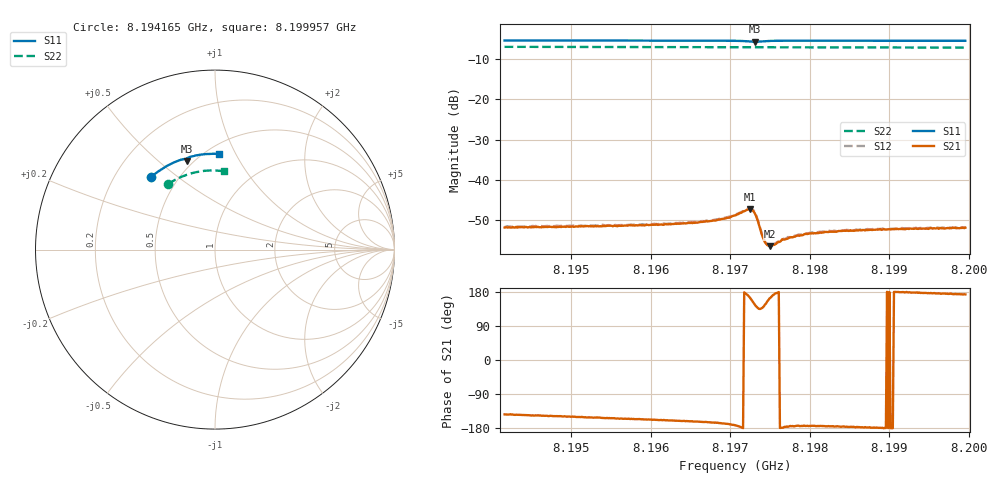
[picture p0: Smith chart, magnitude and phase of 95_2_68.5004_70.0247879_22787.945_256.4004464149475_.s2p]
#  HZ  S  RI  R  50.00
! Rohde & Schwarz Vector Network Analyzer
! Rohde-Schwarz,ZNB20-2Port,1311601062101988,3.16
! Created: UTC 3/20/2024, 4:52:49 PM
! freq[Hz]  re:S11  im:S11  re:S21  im:S21  re:S12  im:S12  re:S22  im:S22
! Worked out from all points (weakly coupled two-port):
!   401 points, 8.194165 GHz to 8.199957 GHz, reference 50 ohm
!   highest |S21| = -47.23 dB at 8.197249 GHz (marker M1); lowest = -56.5 dB at 8.197495 GHz (marker M2)
!   lowest |S11| = -5.7 dB at 8.197307 GHz (marker M3), VSWR 3.16, Z = 23.1 + j31.2 ohm
!   |S11| at or under -10 dB: nowhere
!   |S22| runs from -7.1 to -7.0 dB; largest |S21 - S12| = 0.00023
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8.194165e9  -0.3548 0.4053  -0.00206 -0.00152  -0.00214 -0.00149  -0.2613 0.365
8.1951351e9  -0.2999 0.4466  -0.00231 -0.00132  -0.0024 -0.00125  -0.2146 0.3925
8.1961053e9  -0.24 0.4803  -0.0026 -0.00101  -0.00268 -0.000967  -0.1649 0.4143
8.1965542e9  -0.2101 0.4935  -0.00279 -0.000871  -0.00291 -0.000827  -0.141 0.4222
8.1967424e9  -0.1969 0.4985  -0.00297 -0.000832  -0.00307 -0.000751  -0.1308 0.4251
8.1969596e9  -0.1807 0.5033  -0.00331 -0.000678  -0.0034 -0.000563  -0.1192 0.4283
8.197061e9  -0.1722 0.5047  -0.0036 -0.000489  -0.00369 -0.000328  -0.1136 0.4296
8.1972058e9  -0.1585 0.5025  -0.0042 0.000446  -0.00428 0.000668  -0.1055 0.4311
8.1972492e9  -0.1558 0.4992  -0.00419 0.00117  -0.00417 0.00136  -0.1031 0.4316
8.1972782e9  -0.1556 0.4962  -0.00388 0.00172  -0.00386 0.00191  -0.1017 0.4319
8.1973072e9  -0.1573 0.4943  -0.00327 0.00211  -0.00326 0.00231  -0.1002 0.4322
8.1973361e9  -0.1598 0.4946  -0.00253 0.00217  -0.00249 0.00235  -0.0985 0.4323
8.197423e9  -0.1611 0.5026  -0.00143 0.00113  -0.00143 0.00119  -0.0939 0.4335
8.1974665e9  -0.1583 0.5064  -0.0014 0.000665  -0.00144 0.00076  -0.0915 0.434
8.1974954e9  -0.1562 0.5083  -0.00143 0.000452  -0.00145 0.000521  -0.09 0.4343
8.1975533e9  -0.1517 0.5111  -0.00155 0.000188  -0.0016 0.000226  -0.0867 0.4349
8.1976402e9  -0.1448 0.5145  -0.00175 -3.68e-05  -0.0018 2.53e-05  -0.0817 0.4358
8.1977416e9  -0.1369 0.517  -0.00191 -0.000159  -0.00193 -7.18e-05  -0.0761 0.4366
8.1980312e9  -0.1156 0.5225  -0.00216 -0.000248  -0.00224 -0.000122  -0.0598 0.4385
8.1983932e9  -0.0897 0.5274  -0.00231 -0.000159  -0.00234 -6.59e-05  -0.0395 0.4404
8.1990013e9  -0.0465 0.5325  -0.00244 1.6e-05  -0.00246 0.000107  -0.00522 0.4411
8.199957e9  0.0214 0.5329  -0.00253 0.000306  -0.00257 0.000444  0.0489 0.4364
